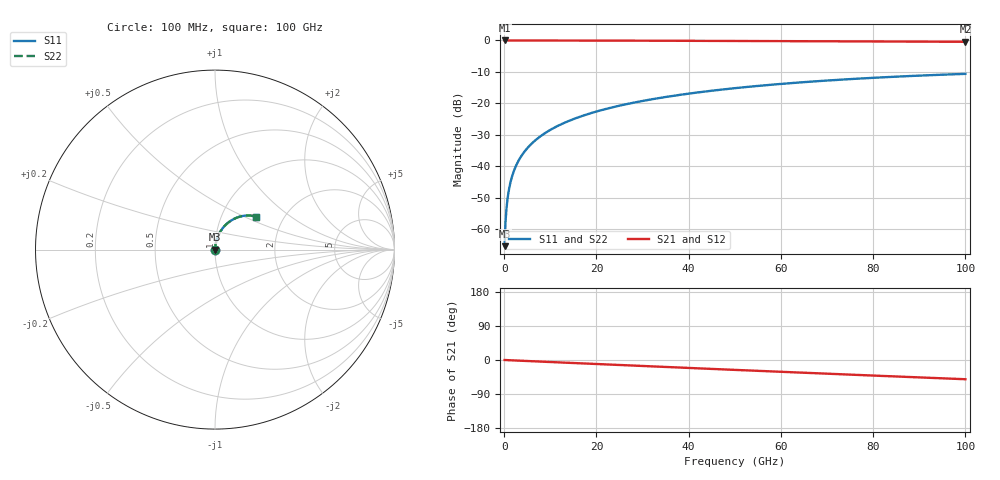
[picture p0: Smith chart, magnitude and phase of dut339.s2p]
! Touchstone file exported from HFSS 2026.1.0
!  File:  C:/ffzhzh/LocalFiles/Ansys_Project_Files/temp_train_TSV_339_1783509820_31944.aedt
!  Generated:  07:25:07 PM Jul  8, 2026
!  Design:  TSV
!  Project:  temp_train_TSV_339_1783509820_31944
! Variables:
!  h_bsmrdl = 2um
!  h_ox = 20um
!  h_rdl = 5um
!  h_sub = 97.54um
!  h_tmrdl = 5um
!  h_tsv = 97.54um
!  h_via = 3um
!  l_bsmrdl = 300um
!  l_sub = 412.36um
!  l_tmrdl = 200um
!  m_sub = 200um
!  pitch = 46.27um
!  r_tsv = 6.18um
!  s_tmrdl = 10um
!  w_bsmrdl = 18um
!  w_sub = 500um
!  w_tmrdl = 12um
!  x_tsv_center1 = 206um
!  x_tsv_center2 = 524um
!  x_tsv_center3 = 736um
!  x_tsv_center4 = 1054um
!  x_tsv_center5 = 1266um
!  x_tsv_center6 = 1584um
# GHz S MA R 50.000000
! Terminal data exported
! Port[1] = TSV1_1_T1
! Port[2] = TSV1_1_T2
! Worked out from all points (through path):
!   1000 points, 100 MHz to 100 GHz, reference 50 ohm
!   highest |S21| = 0.00 dB at 100 MHz (marker M1); lowest = -0.4 dB at 100 GHz (marker M2)
!   group delay of S21, straight-line fit = 1.41 ps
!   lowest |S11| = -65.5 dB at 100 MHz (marker M3), VSWR 1.00, Z = 50 + j0.0422 ohm
!   |S11| at or under -10 dB: start of sweep to end of sweep
!   |S22| runs from -65.5 to -10.6 dB; largest |S21 - S12| = 5.2e-15
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0.1  0.0005323 52.4  0.9997 -0.1  0.9997 -0.1  0.0005323 52.4
! Gamma 0 0 0 0
! Port Impedance 50 0 50 0
0.4  0.001686 77.1  0.9996 -0.2  0.9996 -0.2  0.001686 77.1
0.7  0.002872 81.4  0.9996 -0.4  0.9996 -0.4  0.002872 81.4
0.8  0.003268 82.1  0.9996 -0.4  0.9996 -0.4  0.003268 82.1
1.1  0.004453 83.3  0.9995 -0.6  0.9995 -0.6  0.004453 83.3
1.4  0.005631 83.9  0.9995 -0.8  0.9995 -0.8  0.005631 83.9
1.9  0.007572 84.3  0.9994 -1.0  0.9994 -1.0  0.007572 84.3
2.4  0.009488 84.4  0.9992 -1.3  0.9992 -1.3  0.009488 84.4
3  0.01176 84.4  0.9991 -1.6  0.9991 -1.6  0.01176 84.4
3.8  0.01476 84.3  0.999 -2.0  0.999 -2.0  0.01476 84.3
4.8  0.01849 84.2  0.9988 -2.6  0.9988 -2.6  0.01849 84.2
6  0.02294 83.9  0.9986 -3.2  0.9986 -3.2  0.02294 83.9
8.8  0.03329 82.9  0.998 -4.7  0.998 -4.7  0.03329 82.9
12.4  0.04649 81.3  0.9972 -6.6  0.9972 -6.6  0.04649 81.3
16.8  0.06243 79.3  0.9961 -8.9  0.9961 -8.9  0.06243 79.3
24.2  0.08878 75.7  0.9937 -12.8  0.9937 -12.8  0.08878 75.7
33.4  0.1205 71.1  0.99 -17.6  0.99 -17.6  0.1205 71.1
41.2  0.1463 67.2  0.9862 -21.6  0.9862 -21.6  0.1463 67.2
50.1  0.1743 62.8  0.9814 -26.2  0.9814 -26.2  0.1743 62.8
66.7  0.2216 54.6  0.9715 -34.5  0.9715 -34.5  0.2216 54.6
83.4  0.2619 46.5  0.9611 -42.7  0.9611 -42.7  0.2619 46.4
100  0.2938 38.6  0.9516 -50.7  0.9516 -50.7  0.2938 38.5
